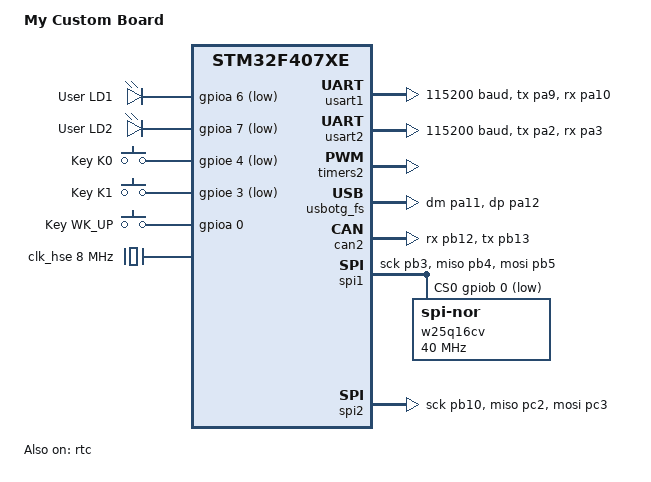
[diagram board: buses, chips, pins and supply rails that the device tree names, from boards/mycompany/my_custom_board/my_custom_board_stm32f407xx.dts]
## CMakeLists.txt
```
# SPDX-License-Identifier: Apache-2.0

cmake_minimum_required(VERSION 3.20.0)

find_package(Zephyr REQUIRED HINTS $ENV{ZEPHYR_BASE})
project(hello_test)

target_sources(app PRIVATE src/main.c)

# Pull in your driver source subdirectory
add_subdirectory(drivers/our_led_sensor)
```

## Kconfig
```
# Source the standard Zephyr configuration properties first
osource "Kconfig.zephyr"

# Link your new custom LED sensor driver configuration variables
rsource "drivers/our_led_sensor/Kconfig"
```

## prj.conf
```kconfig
# Added automatically by Workbench for Zephyr
#--- DEBUG PRESET - BEGIN ---#
# Set to -Og
CONFIG_DEBUG_OPTIMIZATIONS=y
# Thread awareness support
CONFIG_DEBUG_THREAD_INFO=y
# Generate stack usage per-function
CONFIG_STACK_USAGE=y
# Other options in case not set by default
CONFIG_BUILD_OUTPUT_HEX=y
CONFIG_BUILD_OUTPUT_META=y
CONFIG_OUTPUT_SYMBOLS=y
CONFIG_OUTPUT_STAT=y
CONFIG_OUTPUT_DISASSEMBLY=y
CONFIG_OUTPUT_PRINT_MEMORY_USAGE=y
#--- DEBUG PRESET - END ---#


CONFIG_SENSOR=y
CONFIG_GPIO=y
CONFIG_LOG=y
CONFIG_OUR_LED_SENSOR=y


# Enable Zephyr Shell Subsystem
CONFIG_SHELL=y
CONFIG_SENSOR_SHELL=n
```

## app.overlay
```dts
/ {
    my_led_sensor: led_sensor_0 {
        compatible = "our,led-sensor";

        /* This path points directly to your board's pre-defined led_1 hardware properties */
        led-gpios = <&{/leds/led_1}>;
        status = "okay";
    };
};
```

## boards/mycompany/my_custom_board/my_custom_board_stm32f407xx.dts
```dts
/*
 * Copyright (c) 2020 Intel Corporation
 *
 * SPDX-License-Identifier: Apache-2.0
 */

/dts-v1/;
#include <st/f4/stm32f407Xe.dtsi>
#include <st/f4/stm32f407v(e-g)tx-pinctrl.dtsi>
#include <zephyr/dt-bindings/input/input-event-codes.h>

/ {
	//model = "black_f407ve board";
	//compatible = "black-stm32f407";
	model = "My Custom Board";
	compatible = "mycompany,my-custom-board";


	chosen {
		zephyr,console = &usart1;
		zephyr,shell-uart = &usart1;
		zephyr,sram = &sram0;
		zephyr,flash = &flash0;
		zephyr,dtcm = &ccm0;
		zephyr,canbus = &can2;
	};

	leds {
		compatible = "gpio-leds";

		green_led_1: led_1 {
			gpios = <&gpioa 6 GPIO_ACTIVE_LOW>;
			label = "User LD1";
		};

		green_led_2: led_2 {
			gpios = <&gpioa 7 GPIO_ACTIVE_LOW>;
			label = "User LD2";
		};
	};

	gpio_keys {
		compatible = "gpio-keys";

		user_button_0: K0 {
			label = "Key K0";
			gpios = <&gpioe 4 GPIO_ACTIVE_LOW>;
			zephyr,code = <INPUT_KEY_0>;
		};

		user_button_1: K1 {
			label = "Key K1";
			gpios = <&gpioe 3 GPIO_ACTIVE_LOW>;
			zephyr,code = <INPUT_KEY_1>;
		};

		user_button_UP: K_UP {
			label = "Key WK_UP";
			gpios = <&gpioa 0 GPIO_ACTIVE_HIGH>;
			zephyr,code = <INPUT_KEY_UP>;
		};
	};

	aliases {
		led0 = &green_led_1;
		led1 = &green_led_2;
		sw0 = &user_button_UP;
	};
};

&clk_lsi {
	status = "okay";
};

&clk_hse {
	clock-frequency = <DT_FREQ_M(8)>;
	status = "okay";
};

&pll {
	div-m = <8>;
	mul-n = <336>;
	div-p = <2>;
	div-q = <7>;
	clocks = <&clk_hse>;
	status = "okay";
};

&rcc {
	clocks = <&pll>;
	clock-frequency = <DT_FREQ_M(168)>;
	ahb-prescaler = <1>;
	apb1-prescaler = <4>;
	apb2-prescaler = <2>;
};

&usart1 {
	pinctrl-0 = <&usart1_tx_pa9 &usart1_rx_pa10>;
	pinctrl-names = "default";
	current-speed = <115200>;
	status = "okay";
};

&usart2 {
	pinctrl-0 = <&usart2_tx_pa2 &usart2_rx_pa3>;
	pinctrl-names = "default";
	current-speed = <115200>;
	status = "okay";
};

&timers2 {
	status = "okay";

	pwm2: pwm {
		status = "okay";
		pinctrl-0 = <&tim2_ch1_pa0>;
		pinctrl-names = "default";
	};
};

&rtc {
	clocks = <&rcc STM32_CLOCK(APB1, 28)>,
		 <&rcc STM32_SRC_LSI RTC_SEL(2)>;
	status = "okay";
};

zephyr_udc0: &usbotg_fs {
	pinctrl-0 = <&usb_otg_fs_dm_pa11 &usb_otg_fs_dp_pa12>;
	pinctrl-names = "default";
	status = "okay";
};

&can1 {
	pinctrl-0 = <&can1_rx_pd0 &can1_tx_pd1>;
	pinctrl-names = "default";
	status = "disabled";
};

&can2 {
	pinctrl-0 = <&can2_rx_pb12 &can2_tx_pb13>;
	pinctrl-names = "default";
	status = "okay";
};

&spi1 {
	pinctrl-0 = <&spi1_sck_pb3 &spi1_miso_pb4 &spi1_mosi_pb5>;
	pinctrl-names = "default";
	status = "okay";
	cs-gpios = <&gpiob 0 GPIO_ACTIVE_LOW>;

	w25q16cv: w25q16cv@0 {
		compatible = "jedec,spi-nor";
		reg = <0>;
		spi-max-frequency = <40000000>;
		size = <0x1000000>;
		has-dpd;
		t-enter-dpd = <4000>;
		t-exit-dpd = <25000>;
		jedec-id = [ef 40 15];
	};
};

&spi2 {
	pinctrl-0 = <&spi2_sck_pb10 &spi2_miso_pc2 &spi2_mosi_pc3>;
	pinctrl-names = "default";
	status = "okay";
};
```

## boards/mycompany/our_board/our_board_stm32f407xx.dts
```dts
/*
 * Copyright (c) 2026 Your Company
 * SPDX-License-Identifier: Apache-2.0
 */

/dts-v1/;
#include <st/f4/stm32f407Xe.dtsi>
#include <st/f4/stm32f407v(e-g)tx-pinctrl.dtsi>

/ {
	model = "My Custom Board";
	compatible = "mycompany,our-board";

	chosen {
		zephyr,console = &usart1;
		zephyr,shell-uart = &usart1;
		zephyr,sram = &sram0;
		zephyr,flash = &flash0;
		zephyr,dtcm = &ccm0;
	};

	leds {
		compatible = "gpio-leds";

		green_led_1: led_1 {
			gpios = <&gpioa 6 GPIO_ACTIVE_LOW>;
			label = "User LD1";
		};

		green_led_2: led_2 {
			gpios = <&gpioa 7 GPIO_ACTIVE_LOW>;
			label = "User LD2";
		};
	};

	aliases {
		led0 = &green_led_1;
		led1 = &green_led_2;
	};
};

/* --- CLOCK AND RCC CONFIGURATION --- */
&clk_lsi {
	status = "okay";
};

&clk_hse {
	clock-frequency = <DT_FREQ_M(8)>;
	status = "okay";
};

&pll {
	div-m = <8>;
	mul-n = <336>;
	div-p = <2>;
	div-q = <7>;
	clocks = <&clk_hse>;
	status = "okay";
};

&rcc {
	clocks = <&pll>;
	clock-frequency = <DT_FREQ_M(168)>;
	ahb-prescaler = <1>;
	apb1-prescaler = <4>;
	apb2-prescaler = <2>;
};

/* --- PRIMARY SYSTEM SERIAL CONSOLE --- */
&usart1 {
	pinctrl-0 = <&usart1_tx_pa9 &usart1_rx_pa10>;
	pinctrl-names = "default";
	current-speed = <115200>;
	status = "okay";
};
```

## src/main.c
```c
#include <zephyr/kernel.h>
#include <zephyr/device.h>
#include <zephyr/drivers/sensor.h>
#include <zephyr/shell/shell.h>
#include <stdlib.h>

/* Map the external tracking structures matching our driver internals */
struct led_sensor_api_extension {
    int (*set_blink_period)(const struct device *dev, uint32_t period_ms);
};
extern const void *led_sensor_extension_ptr;

/* Helper function to get our specific driver binding safely */
static const struct device *get_sensor_device(const struct shell *sh)
{
    const struct device *dev = device_get_binding("LED_SENSOR");
    if (dev == NULL) {
        shell_error(sh, "Error: Device 'LED_SENSOR' binding not found.");
        return NULL;
    }
    return dev;
}

/* Subcommand: fetch -> calls sensor_sample_fetch() */
static int cmd_sensor_fetch(const struct shell *sh, size_t argc, char **argv)
{
    const struct device *dev = get_sensor_device(sh);
    if (!dev) return -ENODEV;

    shell_print(sh, "Executing sensor_sample_fetch()...");
    int ret = sensor_sample_fetch(dev);
    if (ret < 0) {
        shell_error(sh, "sensor_sample_fetch failed with error code: %d", ret);
        return ret;
    }
    shell_print(sh, "Fetch successful! LED should be ON.");
    return 0;
}

/* Subcommand: read -> calls sensor_channel_get() */
static int cmd_sensor_read(const struct shell *sh, size_t argc, char **argv)
{
    const struct device *dev = get_sensor_device(sh);
    if (!dev) return -ENODEV;

    struct sensor_value val;
    shell_print(sh, "Executing sensor_channel_get()...");
    
    int ret = sensor_channel_get(dev, SENSOR_CHAN_ALL, &val);
    if (ret < 0) {
        shell_error(sh, "sensor_channel_get failed with error code: %d", ret);
        return ret;
    }
    shell_print(sh, "Read successful! LED should be OFF.");
    return 0;
}

/* Subcommand: info -> prints name and initialization status */
static int cmd_sensor_info(const struct shell *sh, size_t argc, char **argv)
{
    const struct device *dev = get_sensor_device(sh);
    if (!dev) return -ENODEV;

    shell_print(sh, "--- Sensor Device Information ---");
    shell_print(sh, "Device Name : %s", dev->name);
    shell_print(sh, "Ready State : %s", device_is_ready(dev) ? "READY" : "NOT READY");
    return 0;
}

/* New Subcommand: set <value> -> mutates runtime parameters with validation checks */
static int cmd_sensor_set(const struct shell *sh, size_t argc, char **argv)
{
    const struct device *dev = get_sensor_device(sh);
    if (!dev) return -ENODEV;

    /* Grab our driver extension API pointer block */
    const struct led_sensor_api_extension *ext_api = led_sensor_extension_ptr;
    if (ext_api == NULL || ext_api->set_blink_period == NULL) {
        shell_error(sh, "Error: Extension API pointer is missing or unlinked.");
        return -EFAULT;
    }

    /* Convert string argument to integer safely */
    char *endptr;
    long value = strtol(argv[1], &endptr, 10);

    /* Validation Guard 1: Check if input string is a valid integer parsing block */
    if (*endptr != '\0') {
        shell_error(sh, "Error: Invalid argument '%s'. Please provide a number.", argv[1]);
        return -EINVAL;
    }

    /* Validation Guard 2: Enforce out-of-range protection (e.g., minimum 50ms, maximum 5000ms) */
    if (value < 50 || value > 5000) {
        shell_error(sh, "Error: Argument %ld is out of range. Allowed threshold: 50 to 5000 ms.", value);
        return -EINVAL;
    }

    /* Input validated successfully. Commit update directly through the custom extension API */
    int ret = ext_api->set_blink_period(dev, (uint32_t)value);
    if (ret < 0) {
        shell_error(sh, "Driver rejected parameter modification with error: %d", ret);
        return ret;
    }

    shell_print(sh, "Success: Dynamic runtime driver parameter adjusted to %ld ms.", value);
    return 0;
}

/* Define the subcommands dictionary layout using static helper macros */
SHELL_STATIC_SUBCMD_SET_CREATE(sub_sensorroot,
    SHELL_CMD(fetch, NULL, "Trigger sensor_sample_fetch().", cmd_sensor_fetch),
    SHELL_CMD(read,  NULL, "Trigger sensor_channel_get().", cmd_sensor_read),
    SHELL_CMD(info,  NULL, "Query and print device profile metadata.", cmd_sensor_info),
    
    /* Enforce exactly 2 command arguments (command name + value string parameter) using SHELL_CMD_ARG */
    SHELL_CMD_ARG(set, NULL, "Set dynamic blink period. Usage: sensorroot set <50-5000>", cmd_sensor_set, 2, 0),
    
    SHELL_SUBCMD_SET_END
);

/* Main registration anchor block */
SHELL_CMD_REGISTER(sensorroot, &sub_sensorroot, "Custom LED-based sensor driver command suite", NULL);

int main(void)
{
    return 0;
}
```
